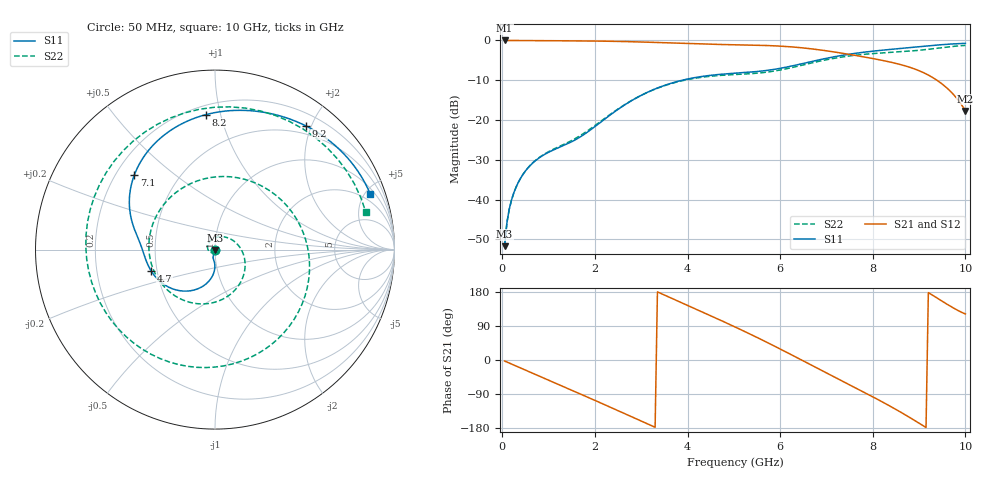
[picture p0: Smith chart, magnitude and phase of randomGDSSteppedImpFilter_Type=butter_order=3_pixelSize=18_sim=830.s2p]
! freq	dB(S11)	phase(S11)	dB(S12)	phase(S12)
!  dB(S21)	phase(S21)	dB(S22)	phase(S22)
!S-par simulation data
#  GHz  S  DB  R 50
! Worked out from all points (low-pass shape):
!   200 points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, 50 MHz to 10 GHz, reference 50 ohm
!   highest |S21| = 0.00 dB at 50 MHz (marker M1); lowest = -17.7 dB at 10 GHz (marker M2)
!   |S21| within 3 dB of the highest: start of sweep to 7.227 GHz
!   lowest |S11| = -51.7 dB at 50 MHz (marker M3), VSWR 1.01, Z = 50 - j0.259 ohm
!   |S11| at or under -10 dB: start of sweep to 3.887 GHz
!   |S22| runs from -51.6 to -1.3 dB; largest |S21 - S12| = 0
!   S11 on the Smith chart (normalised r, x): 50 MHz: 1.00, -0.01; 4.7 GHz: 0.46, -0.13; 7.1 GHz: 0.27, +0.37; 8.2 GHz: 0.26, +0.90; 9.2 GHz: 0.37, +1.92; 10 GHz: 1.37, +5.45
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0.05  -51.73 -90.9  -0.00 -2.7  -0.00 -2.7  -51.65 -93.7
0.1  -45.80 -91.9  -0.01 -5.3  -0.01 -5.3  -45.79 -97.8
0.2  -40.07 -94.2  -0.02 -10.6  -0.02 -10.6  -40.11 -106.8
0.45  -33.62 -100.1  -0.03 -23.9  -0.03 -23.9  -33.63 -129.6
1.15  -27.30 -104.8  -0.08 -61.0  -0.08 -61.0  -27.09 160.0
1.75  -23.76 -94.0  -0.12 -93.0  -0.12 -93.0  -23.43 86.6
2.65  -16.15 -96.8  -0.28 -141.9  -0.28 -141.9  -16.08 -7.2
3.4  -11.73 -118.7  -0.54 177.0  -0.54 177.0  -11.79 -67.4
4.05  -9.58 -140.8  -0.81 141.5  -0.81 141.5  -9.73 -116.0
4.7  -8.53 -161.3  -1.01 105.6  -1.01 105.6  -8.80 -167.1
5.05  -8.22 -170.7  -1.09 85.9  -1.09 85.9  -8.56 162.6
5.9  -7.22 171.1  -1.37 35.3  -1.37 35.3  -7.65 78.1
6.25  -6.43 163.4  -1.62 13.4  -1.62 13.4  -6.83 41.4
6.7  -5.24 150.8  -2.14 -15.1  -2.14 -15.1  -5.61 -3.7
7.1  -4.25 137.1  -2.78 -40.4  -2.78 -40.4  -4.63 -41.1
7.7  -3.12 113.9  -3.92 -78.1  -3.92 -78.1  -3.62 -94.3
8.2  -2.45 93.8  -5.00 -110.2  -5.00 -110.2  -3.15 -140.3
8.35  -2.28 87.8  -5.37 -120.2  -5.37 -120.2  -3.04 -155.0
8.8  -1.79 69.8  -6.76 -151.8  -6.76 -151.8  -2.69 156.5
9.2  -1.36 53.6  -8.71 178.0  -8.71 178.0  -2.22 108.6
9.55  -1.01 38.9  -11.44 151.2  -11.44 151.2  -1.73 65.8
10  -0.73 19.6  -17.73 121.5  -17.73 121.5  -1.25 13.9
